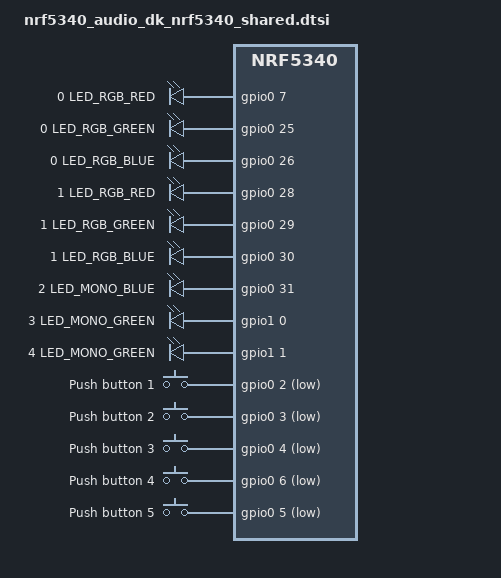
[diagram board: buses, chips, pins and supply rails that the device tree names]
/ {
	leds:	leds {
		compatible = "gpio-leds";
		rgb1_red: led_0 {
			gpios = <&gpio0 7 GPIO_ACTIVE_HIGH>;
			label = "0 LED_RGB_RED";
		};
		rgb1_green: led_1 {
			gpios = <&gpio0 25 GPIO_ACTIVE_HIGH>;
			label = "0 LED_RGB_GREEN";
		};
		rgb1_blue: led_2 {
			gpios = <&gpio0 26 GPIO_ACTIVE_HIGH>;
			label = "0 LED_RGB_BLUE";
		};
		rgb2_red: led_3 {
			gpios = <&gpio0 28 GPIO_ACTIVE_HIGH>;
			label = "1 LED_RGB_RED";
		};
		rgb2_green: led_4 {
			gpios = <&gpio0 29 GPIO_ACTIVE_HIGH>;
			label = "1 LED_RGB_GREEN";
		};
		rgb2_blue: led_5 {
			gpios = <&gpio0 30 GPIO_ACTIVE_HIGH>;
			label = "1 LED_RGB_BLUE";
		};
		led1_blue: led_6 {
			gpios = <&gpio0 31 GPIO_ACTIVE_HIGH>;
			label = "2 LED_MONO_BLUE";
		};
		led2_green: led_7 {
			gpios = <&gpio1 0 GPIO_ACTIVE_HIGH>;
			label = "3 LED_MONO_GREEN";
		};
		led3_green: led_8 {
			gpios = <&gpio1 1 GPIO_ACTIVE_HIGH>;
			label = "4 LED_MONO_GREEN";
		};

	};

	buttons {
		compatible = "gpio-keys";
		button_1_vol_dn: button_1_vol_dn {
			gpios = <&gpio0 2 (GPIO_PULL_UP | GPIO_ACTIVE_LOW)>;
			label = "Push button 1";
		};
		button_2_vol_up: button_2_vol_up {
			gpios = <&gpio0 3 (GPIO_PULL_UP | GPIO_ACTIVE_LOW)>;
			label = "Push button 2";
		};
		button3: button_3 {
			gpios = <&gpio0 4 (GPIO_PULL_UP | GPIO_ACTIVE_LOW)>;
			label = "Push button 3";
		};
		button4: button_4 {
			gpios = <&gpio0 6 (GPIO_PULL_UP | GPIO_ACTIVE_LOW)>;
			label = "Push button 4";
		};
		button5: button_5 {
			gpios = <&gpio0 5 (GPIO_PULL_UP | GPIO_ACTIVE_LOW)>;
			label = "Push button 5";
		};
	};

	aliases {
		led0 = &rgb1_red;
		led1 = &rgb1_green;
		led2 = &rgb1_blue;
		led3 = &rgb2_red;
		led4 = &rgb2_green;
		led5 = &rgb2_blue;
		led6 = &led1_blue;
		led7 = &led2_green;
		led8 = &led3_green;
		sw0 = &button_1_vol_dn;
		sw1 = &button_2_vol_up;
		sw2 = &button3;
		sw3 = &button4;
		sw4 = &button5;
		watchdog0 = &wdt0;
	};
};
